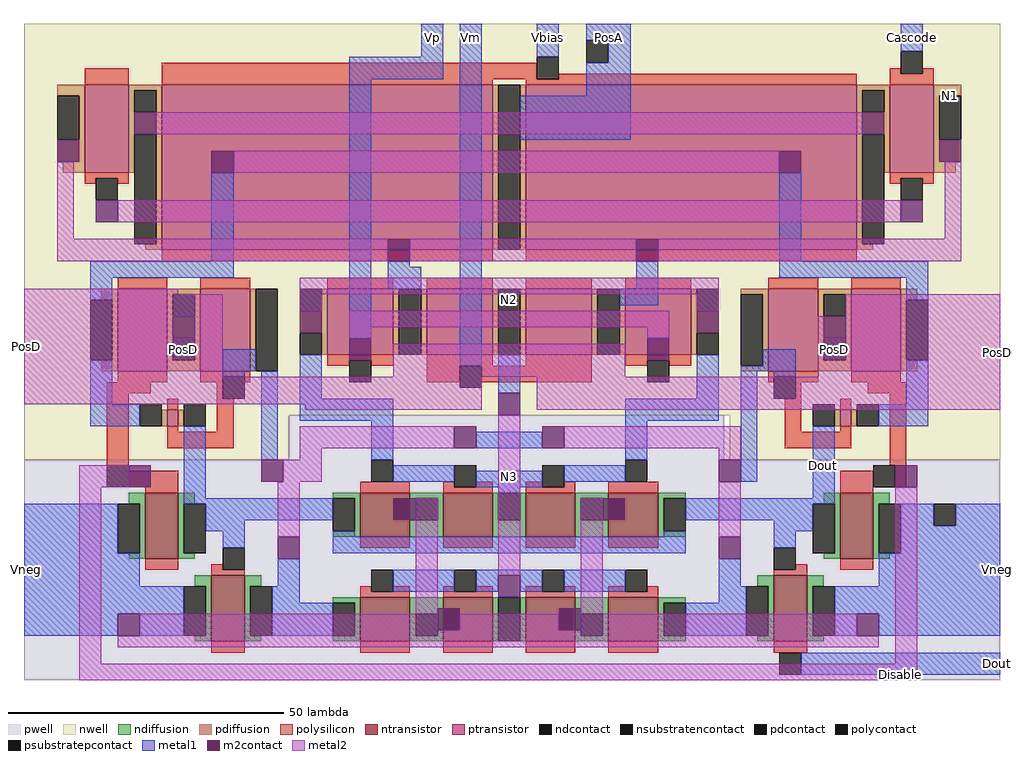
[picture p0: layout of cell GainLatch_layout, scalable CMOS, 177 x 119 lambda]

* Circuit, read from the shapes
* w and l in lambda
.subckt GainLatch_layout Cascode Disable Dout N1 N2 N3 PosA PosD Vbias Vm Vneg Vp
M1 Dout Disable Vneg Vneg nfet w=12 l=6 m=2
M2 n4 Dout Vneg Vneg nfet w=12 l=6 m=2
M3 Vneg N2 n4 Vneg nfet w=8 l=9 m=2
M4 Vneg N3 Dout Vneg nfet w=8 l=9 m=2
M5 N2 N2 Vneg Vneg nfet w=8 l=9 m=2
M6 N3 N3 Vneg Vneg nfet w=8 l=9 m=2
M7 n5 Cascode N1 PosA pfet w=16 l=8 m=2
M8 PosD Disable n6 PosA pfet w=15 l=9 m=2
M9 PosA Vbias n5 PosA pfet w=30 l=60 m=2
M10 Dout n4 n6 PosA pfet w=3 l=2 m=2
M11 n4 n4 PosD PosA pfet w=15 l=9 m=2
M12 N1 Vp N3 PosA pfet w=12 l=12 m=2
M13 N2 Vm N1 PosA pfet w=12 l=12 m=2
.ends

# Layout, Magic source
magic
tech scmos
<< nwell >>
rect 7 17 184 88
rect 7 9 55 17
rect 135 9 184 17
<< pwell >>
rect 55 9 134 17
rect 7 -31 184 9
<< ntransistor >>
rect 29 -9 35 3
rect 68 -5 77 3
rect 83 -5 92 3
rect 98 -5 107 3
rect 113 -5 122 3
rect 155 -9 161 3
rect 41 -24 47 -12
rect 68 -24 77 -16
rect 83 -24 92 -16
rect 98 -24 107 -16
rect 113 -24 122 -16
rect 143 -24 149 -12
<< ptransistor >>
rect 18 61 26 77
rect 32 47 92 77
rect 98 47 158 77
rect 164 61 172 77
rect 24 25 33 40
rect 39 25 48 40
rect 62 28 74 40
rect 80 28 92 40
rect 98 28 110 40
rect 116 28 128 40
rect 142 25 151 40
rect 157 25 166 40
rect 33 15 35 18
rect 155 15 157 18
<< ndiffusion >>
rect 26 1 29 3
rect 28 -8 29 1
rect 26 -9 29 -8
rect 35 1 38 3
rect 63 2 68 3
rect 35 -8 36 1
rect 67 -4 68 2
rect 63 -5 68 -4
rect 77 2 83 3
rect 77 -2 78 2
rect 82 -2 83 2
rect 77 -5 83 -2
rect 92 -2 93 3
rect 97 -2 98 3
rect 92 -5 98 -2
rect 107 2 113 3
rect 107 -2 108 2
rect 112 -2 113 2
rect 107 -5 113 -2
rect 122 2 127 3
rect 122 -4 123 2
rect 152 1 155 3
rect 122 -5 127 -4
rect 35 -9 38 -8
rect 154 -8 155 1
rect 152 -9 155 -8
rect 161 1 164 3
rect 161 -8 162 1
rect 161 -9 164 -8
rect 38 -14 41 -12
rect 40 -23 41 -14
rect 38 -24 41 -23
rect 47 -14 50 -12
rect 47 -23 48 -14
rect 140 -14 143 -12
rect 63 -17 68 -16
rect 67 -23 68 -17
rect 47 -24 50 -23
rect 63 -24 68 -23
rect 77 -19 83 -16
rect 77 -23 78 -19
rect 82 -23 83 -19
rect 77 -24 83 -23
rect 92 -24 93 -16
rect 97 -24 98 -16
rect 107 -19 113 -16
rect 107 -23 108 -19
rect 112 -23 113 -19
rect 107 -24 113 -23
rect 122 -17 127 -16
rect 122 -23 123 -17
rect 142 -23 143 -14
rect 122 -24 127 -23
rect 140 -24 143 -23
rect 149 -14 152 -12
rect 149 -23 150 -14
rect 149 -24 152 -23
<< pdiffusion >>
rect 13 75 18 77
rect 17 67 18 75
rect 13 63 18 67
rect 14 61 18 63
rect 26 76 32 77
rect 26 72 27 76
rect 31 72 32 76
rect 26 68 32 72
rect 26 61 27 68
rect 31 48 32 68
rect 29 47 32 48
rect 92 47 93 77
rect 97 47 98 77
rect 158 76 164 77
rect 158 72 159 76
rect 163 72 164 76
rect 158 68 164 72
rect 158 48 159 68
rect 163 61 164 68
rect 172 75 177 77
rect 172 67 173 75
rect 172 63 177 67
rect 172 61 176 63
rect 158 47 161 48
rect 21 38 24 40
rect 23 27 24 38
rect 21 25 24 27
rect 33 39 39 40
rect 33 35 34 39
rect 38 35 39 39
rect 33 31 39 35
rect 33 27 34 31
rect 38 27 39 31
rect 33 25 39 27
rect 48 25 49 40
rect 61 36 62 40
rect 57 32 62 36
rect 61 28 62 32
rect 74 28 75 40
rect 79 28 80 40
rect 92 28 93 40
rect 97 28 98 40
rect 110 28 111 40
rect 115 28 116 40
rect 128 36 129 40
rect 128 32 133 36
rect 128 28 129 32
rect 137 39 142 40
rect 141 26 142 39
rect 137 25 142 26
rect 151 39 157 40
rect 151 35 152 39
rect 156 35 157 39
rect 151 31 157 35
rect 151 27 152 31
rect 156 27 157 31
rect 151 25 157 27
rect 166 38 169 40
rect 166 27 167 38
rect 166 25 169 27
rect 32 15 33 18
rect 35 15 36 18
rect 154 15 155 18
rect 157 15 158 18
<< ndcontact >>
rect 24 -8 28 1
rect 36 -8 40 1
rect 63 -4 67 2
rect 78 -2 82 2
rect 93 -2 97 3
rect 108 -2 112 2
rect 123 -4 127 2
rect 150 -8 154 1
rect 162 -8 166 1
rect 36 -23 40 -14
rect 48 -23 52 -14
rect 63 -23 67 -17
rect 78 -23 82 -19
rect 93 -24 97 -16
rect 108 -23 112 -19
rect 123 -23 127 -17
rect 138 -23 142 -14
rect 150 -23 154 -14
<< pdcontact >>
rect 13 67 17 75
rect 27 72 31 76
rect 27 48 31 68
rect 93 47 97 77
rect 159 72 163 76
rect 159 48 163 68
rect 173 67 177 75
rect 19 27 23 38
rect 34 35 38 39
rect 34 27 38 31
rect 49 25 53 40
rect 57 36 61 40
rect 57 28 61 32
rect 75 28 79 40
rect 93 28 97 40
rect 111 28 115 40
rect 129 36 133 40
rect 129 28 133 32
rect 137 26 141 39
rect 152 35 156 39
rect 152 27 156 31
rect 167 27 171 38
rect 28 15 32 19
rect 36 15 40 19
rect 150 15 154 19
rect 158 15 162 19
<< psubstratepcontact >>
rect 172 -3 176 1
<< nsubstratencontact >>
rect 109 81 113 85
<< polysilicon >>
rect 18 77 26 80
rect 32 78 100 81
rect 164 79 166 80
rect 170 79 172 80
rect 104 78 158 79
rect 32 77 92 78
rect 98 77 158 78
rect 164 77 172 79
rect 18 60 26 61
rect 18 59 20 60
rect 24 59 26 60
rect 164 60 172 61
rect 164 59 166 60
rect 170 59 172 60
rect 32 45 92 47
rect 98 45 158 47
rect 24 40 33 42
rect 39 40 48 42
rect 62 40 74 42
rect 80 40 92 42
rect 98 40 110 42
rect 116 40 128 42
rect 142 40 151 42
rect 157 40 166 42
rect 62 27 74 28
rect 62 26 66 27
rect 24 23 33 25
rect 39 24 48 25
rect 39 23 43 24
rect 22 21 30 23
rect 22 8 26 21
rect 42 20 43 23
rect 47 23 48 24
rect 70 26 74 27
rect 80 26 92 28
rect 98 26 110 28
rect 116 27 128 28
rect 116 26 120 27
rect 80 23 86 26
rect 90 23 110 26
rect 124 26 128 27
rect 142 24 151 25
rect 142 23 143 24
rect 147 23 151 24
rect 157 23 166 25
rect 147 20 148 23
rect 160 21 167 23
rect 33 18 35 20
rect 33 14 35 15
rect 42 14 45 20
rect 33 11 45 14
rect 145 14 148 20
rect 155 18 157 20
rect 155 14 157 15
rect 145 11 157 14
rect 26 4 35 7
rect 29 3 35 4
rect 68 3 77 5
rect 83 4 85 5
rect 89 4 92 5
rect 83 3 92 4
rect 98 4 101 5
rect 164 8 167 21
rect 105 4 107 5
rect 98 3 107 4
rect 113 3 122 5
rect 155 3 161 7
rect 165 4 167 8
rect 68 -7 77 -5
rect 83 -7 92 -5
rect 98 -7 107 -5
rect 113 -7 122 -5
rect 29 -11 35 -9
rect 41 -11 43 -10
rect 147 -11 149 -10
rect 155 -11 161 -9
rect 41 -12 47 -11
rect 68 -15 70 -14
rect 74 -15 77 -14
rect 68 -16 77 -15
rect 83 -15 85 -14
rect 89 -15 92 -14
rect 83 -16 92 -15
rect 98 -15 101 -14
rect 105 -15 107 -14
rect 98 -16 107 -15
rect 113 -15 116 -14
rect 143 -12 149 -11
rect 120 -15 122 -14
rect 113 -16 122 -15
rect 41 -26 47 -24
rect 68 -26 77 -24
rect 83 -26 92 -24
rect 98 -26 107 -24
rect 113 -26 122 -24
rect 143 -26 149 -24
<< polycontact >>
rect 100 78 104 82
rect 166 79 170 83
rect 20 56 24 60
rect 166 56 170 60
rect 43 20 47 24
rect 66 23 70 27
rect 86 22 90 26
rect 120 23 124 27
rect 143 20 147 24
rect 22 4 26 8
rect 70 5 74 9
rect 85 4 89 8
rect 101 4 105 8
rect 116 5 120 9
rect 161 4 165 8
rect 43 -11 47 -7
rect 143 -11 147 -7
rect 70 -15 74 -11
rect 85 -15 89 -11
rect 101 -15 105 -11
rect 116 -15 120 -11
rect 144 -30 148 -26
<< metal1 >>
rect 79 82 83 88
rect 66 78 83 82
rect 41 45 45 61
rect 19 42 45 45
rect 19 38 23 42
rect 19 19 23 27
rect 43 25 49 29
rect 43 24 47 25
rect 19 15 28 19
rect 36 2 40 15
rect 50 9 53 25
rect 57 20 61 28
rect 66 31 70 78
rect 73 44 77 45
rect 73 40 79 44
rect 86 26 90 88
rect 100 82 104 88
rect 109 85 117 88
rect 113 81 117 85
rect 109 75 117 81
rect 166 83 170 88
rect 97 67 117 75
rect 118 40 122 45
rect 144 45 148 61
rect 144 42 171 45
rect 115 37 122 40
rect 93 21 97 28
rect 57 16 74 20
rect 129 20 133 28
rect 70 9 74 16
rect 116 16 133 20
rect 141 26 147 29
rect 167 38 171 42
rect 137 25 147 26
rect 89 11 101 14
rect 116 9 120 16
rect 74 5 85 8
rect 89 4 101 7
rect 105 5 116 8
rect 137 5 140 25
rect 143 24 147 25
rect 167 19 171 27
rect 162 15 171 19
rect 93 3 97 4
rect 36 1 63 2
rect 7 -8 24 1
rect 40 -2 63 1
rect 40 -4 47 -2
rect 43 -7 47 -4
rect 150 2 154 15
rect 63 -5 67 -4
rect 127 1 154 2
rect 127 -2 150 1
rect 123 -5 127 -4
rect 143 -4 150 -2
rect 7 -14 28 -8
rect 63 -8 127 -5
rect 53 -14 57 -9
rect 7 -19 36 -14
rect 7 -23 24 -19
rect 28 -23 36 -19
rect 52 -17 57 -14
rect 74 -15 85 -11
rect 89 -12 101 -11
rect 89 -15 93 -12
rect 97 -15 101 -12
rect 105 -15 116 -11
rect 133 -14 137 -9
rect 143 -7 147 -4
rect 166 -3 172 1
rect 176 -3 184 1
rect 166 -8 184 -3
rect 162 -14 184 -8
rect 52 -23 63 -17
rect 133 -17 138 -14
rect 127 -23 138 -17
rect 154 -19 184 -14
rect 154 -23 158 -19
rect 162 -23 184 -19
rect 148 -30 184 -26
<< m2contact >>
rect 13 63 17 67
rect 27 68 31 72
rect 20 52 24 56
rect 41 61 45 65
rect 34 31 38 35
rect 26 4 30 8
rect 57 32 61 36
rect 73 45 77 49
rect 66 27 70 31
rect 159 68 163 72
rect 144 61 148 65
rect 118 45 122 49
rect 173 63 177 67
rect 166 52 170 56
rect 129 32 133 36
rect 120 27 124 31
rect 93 17 97 21
rect 152 31 156 35
rect 85 11 89 15
rect 101 11 105 15
rect 50 5 54 9
rect 133 5 137 9
rect 74 -2 78 2
rect 165 4 169 8
rect 112 -2 116 2
rect 53 -9 57 -5
rect 133 -9 137 -5
rect 24 -23 28 -19
rect 93 -16 97 -12
rect 82 -22 86 -18
rect 104 -22 108 -18
rect 158 -23 162 -19
<< metal2 >>
rect 31 68 159 72
rect 13 49 16 63
rect 45 61 144 65
rect 24 52 166 56
rect 174 49 177 63
rect 13 45 73 49
rect 77 45 118 49
rect 122 45 177 49
rect 7 39 35 40
rect 57 39 133 42
rect 7 35 43 39
rect 7 31 34 35
rect 38 31 43 35
rect 57 36 61 39
rect 129 36 133 39
rect 66 33 124 36
rect 7 24 43 31
rect 66 31 70 33
rect 120 31 124 33
rect 74 24 116 30
rect 151 31 152 35
rect 156 31 184 39
rect 151 24 184 31
rect 7 19 90 24
rect 58 18 90 19
rect 100 18 184 24
rect 57 11 85 15
rect 57 9 61 11
rect 17 4 26 8
rect 54 5 61 9
rect 17 -28 21 4
rect 53 -5 57 5
rect 78 -19 82 2
rect 93 -12 97 17
rect 105 11 137 15
rect 133 9 137 11
rect 28 -22 82 -19
rect 86 -22 104 -19
rect 108 -19 112 2
rect 133 -5 137 5
rect 108 -22 158 -19
rect 28 -23 158 -22
rect 24 -25 162 -23
rect 165 -28 169 4
rect 17 -31 169 -28
<< labels >>
rlabel metal1 100 85 104 86 5 Vbias
rlabel metal1 166 85 170 86 5 Cascode
rlabel metal1 86 85 90 86 5 Vm
rlabel metal1 79 85 83 86 5 Vp
rlabel pdcontact 154 29 154 29 1 PosD
rlabel pdcontact 95 38 95 38 1 N2
rlabel metal1 95 6 95 6 1 N3
rlabel pdcontact 36 29 36 29 1 PosD
rlabel metal1 7 -23 8 1 3 Vneg
rlabel metal1 183 -23 184 1 7 Vneg
rlabel metal2 183 18 184 39 7 PosD
rlabel metal2 7 19 8 40 3 PosD
rlabel metal1 109 85 117 86 5 PosA
rlabel pdcontact 175 75 175 75 7 N1
rlabel metal2 166 -30 166 -30 1 Disable
rlabel metal1 152 8 152 8 1 Dout
rlabel metal1 183 -30 184 -26 8 Dout
<< end >>
